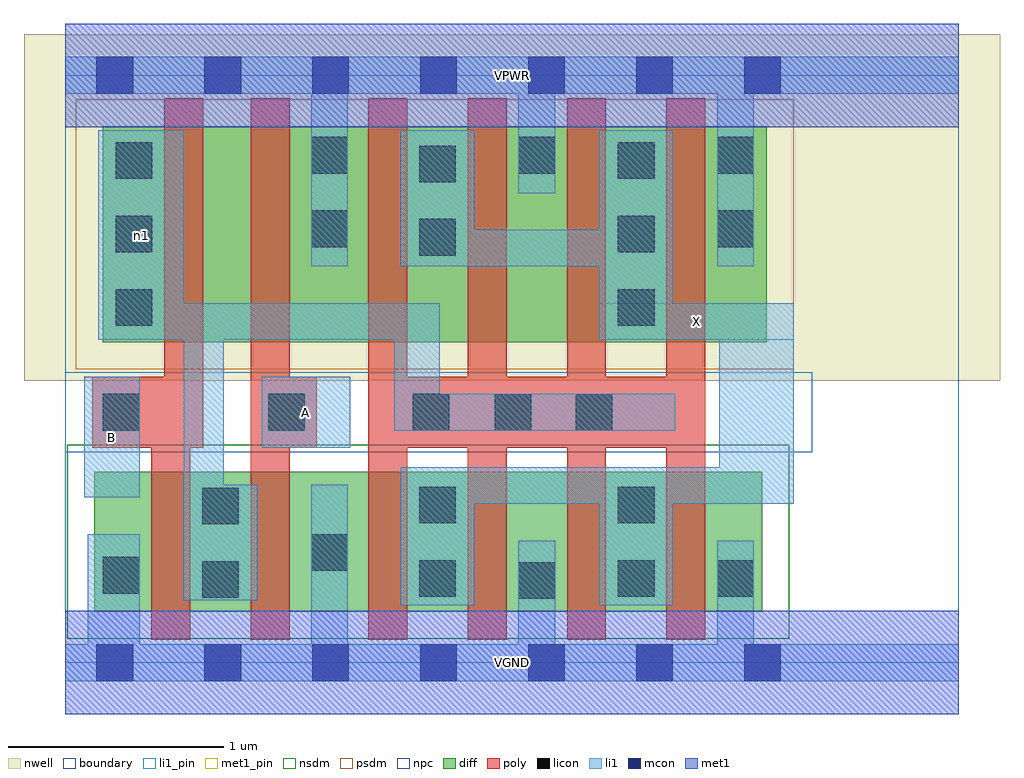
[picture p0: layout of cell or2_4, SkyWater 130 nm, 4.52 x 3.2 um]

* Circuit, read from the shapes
.subckt or2_4 A B VGND VPWR X n1
XM1 n1 B VGND VSUBS sky130_fd_pr__nfet_01v8 w=0.65 l=0.18
XM2 VGND A n1 VSUBS sky130_fd_pr__nfet_01v8 w=0.65 l=0.18
XM3 X n1 VGND VSUBS sky130_fd_pr__nfet_01v8 w=0.65 l=0.18 m=4
XM4 n2 B n1 n3 sky130_fd_pr__pfet_01v8 w=1 l=0.18
XM5 VPWR A n2 n3 sky130_fd_pr__pfet_01v8 w=1 l=0.18
XM6 X n1 VPWR n3 sky130_fd_pr__pfet_01v8 w=1 l=0.18 m=4
.ends

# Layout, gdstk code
import gdstk
lib = gdstk.Library(unit=1e-6, precision=1e-09)
def R(c, l, rs):  # rectangles x0, y0, x1, y1
    for r in rs: c.add(gdstk.rectangle(r[:2], r[2:], *l))
def A(c, l, x, y, w, h, nx, ny, dx, dy):  # array of equal rectangles
    R(c, l, [(x+i*dx, y+j*dy, x+i*dx+w, y+j*dy+h) for i in range(nx) for j in range(ny)])
nwell = (64, 20)
diff = (65, 20)
poly = (66, 20)
licon = (66, 44)
li1_pin = (67, 16)
li1 = (67, 20)
mcon = (67, 44)
met1_pin = (68, 16)
met1 = (68, 20)
nsdm = (93, 44)
psdm = (94, 20)
npc = (95, 20)
boundary = (235, 4)

or2_4 = lib.new_cell('or2_4')
R(or2_4, nwell, [(-0.19,1.305,4.33,2.91), (0,1.305,4.14,2.91)])
R(or2_4, diff, [(0.135,0.235,3.23,0.885), (0.175,1.485,3.25,2.485)])
A(or2_4, poly, 1.405, 0.105, 0.18, 2.51, 4, 1, 0.46, 0)
R(or2_4, poly, [(0.4,0.105,0.58,1.325), (0.86,0.105,1.04,2.615), (0.125,0.995,0.64,1.325), (0.46,0.995,0.64,2.615), (0.86,0.995,1.165,1.325), (1.405,0.995,2.965,1.325)])
A(or2_4, licon, 0.235, 1.56, 0.17, 0.17, 1, 3, 0, 0.34)
A(or2_4, licon, 2.56, 1.56, 0.17, 0.17, 1, 3, 0, 0.34)
R(or2_4, licon, [(2.1,0.295,2.27,0.465), (0.635,0.3,0.805,0.47), (1.64,0.305,1.81,0.475), (2.56,0.305,2.73,0.475), (3.02,0.305,3.19,0.475), (0.175,0.32,0.345,0.49), (1.14,0.425,1.31,0.595), (0.635,0.64,0.805,0.81), (1.64,0.645,1.81,0.815), (2.56,0.645,2.73,0.815), (0.175,1.075,0.345,1.245), (0.94,1.075,1.11,1.245), (1.61,1.075,1.78,1.245), (1.99,1.075,2.16,1.245), (2.365,1.075,2.535,1.245), (1.64,1.885,1.81,2.055), (1.14,1.925,1.31,2.095), (3.02,1.925,3.19,2.095), (1.64,2.225,1.81,2.395), (1.14,2.265,1.31,2.435), (2.1,2.265,2.27,2.435), (3.02,2.265,3.19,2.435)])
R(or2_4, li1_pin, [(0.09,0.765,0.345,1.325), (0.91,0.995,1.32,1.325), (2.475,1.495,3.375,1.665)])
R(or2_4, li1, [(0,-0.085,4.14,0.085), (0.105,-0.085,0.345,0.595), (1.14,-0.085,1.31,0.825), (2.1,-0.085,2.27,0.565), (3.02,-0.085,3.19,0.565), (1.555,0.265,1.895,0.905), (2.475,0.265,2.815,0.905), (0.55,0.29,0.735,1.665), (0.55,0.29,0.89,0.825), (1.555,0.735,3.375,0.905), (3.03,0.735,3.375,1.665), (0.09,0.765,0.345,1.325), (0.91,0.995,1.32,1.325), (1.525,1.075,2.825,1.245), (1.525,1.075,1.735,1.665), (0.155,1.495,0.55,2.465), (0.155,1.495,1.735,1.665), (2.475,1.495,2.815,2.465), (2.475,1.495,3.375,1.665), (1.14,1.835,1.31,2.805), (1.555,1.835,1.895,2.465), (1.555,1.835,2.815,2.005), (3.02,1.835,3.19,2.805), (2.1,2.175,2.27,2.805), (0,2.635,4.14,2.805)])
A(or2_4, mcon, 0.145, -0.085, 0.17, 0.17, 7, 2, 0.5, 2.72)
R(or2_4, met1_pin, [(0,-0.24,4.14,0.24), (0,2.48,4.14,2.96)])
R(or2_4, met1, [(0,-0.24,4.14,0.24), (0,2.48,4.14,2.96)])
R(or2_4, nsdm, [(0.01,0.11,3.355,1.01)])
R(or2_4, psdm, [(0.05,1.36,3.375,2.61)])
R(or2_4, npc, [(0,0.975,3.46,1.345)])
R(or2_4, boundary, [(0,0,4.14,2.72)])
or2_4.add(gdstk.Label('A', (1.115,1.16), layer=67, texttype=5))
or2_4.add(gdstk.Label('B', (0.217,1.045), layer=67, texttype=5))
or2_4.add(gdstk.Label('X', (2.925,1.58), layer=67, texttype=5))
or2_4.add(gdstk.Label('n1', (0.352,1.98), layer=67, texttype=5))
or2_4.add(gdstk.Label('VPWR', (2.07,2.72), layer=68, texttype=5))
or2_4.add(gdstk.Label('VGND', (2.07,0), layer=68, texttype=5))
or2_4.add(gdstk.Label('A', (1.115,1.16), layer=67, texttype=16))
or2_4.add(gdstk.Label('B', (0.217,1.045), layer=67, texttype=16))
or2_4.add(gdstk.Label('X', (2.925,1.58), layer=67, texttype=16))
or2_4.add(gdstk.Label('VPWR', (2.07,2.72), layer=68, texttype=16))
or2_4.add(gdstk.Label('VGND', (2.07,0), layer=68, texttype=16))

lib.write_gds('or2_4.gds')
